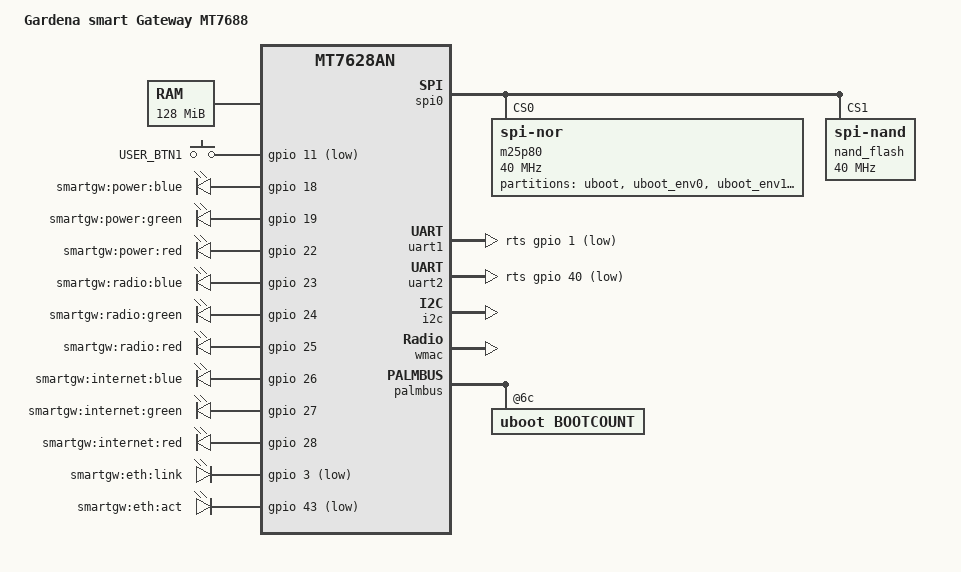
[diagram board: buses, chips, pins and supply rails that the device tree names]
/dts-v1/;

/include/ "mt7628an.dtsi"

#include <dt-bindings/gpio/gpio.h>
#include <dt-bindings/input/input.h>

/ {
	compatible = "Gardena,smartGatewayMT7688", "ralink,mt7628an-soc";
	model = "Gardena smart Gateway MT7688";

	memory@0 {
		device_type = "memory";
		reg = <0x0 0x8000000>;
	};

	gpio-keys {
		compatible = "gpio-keys";

		user_btn1 {
			label = "USER_BTN1";
			gpios = <&gpio 11 GPIO_ACTIVE_LOW>;
			linux,code =<KEY_PROG1> ;
		};
	};

	leds {
		compatible = "gpio-leds";

		power_blue {
			label = "smartgw:power:blue";
			gpios = <&gpio 18 GPIO_ACTIVE_HIGH>;
			default-state = "off";
		};

		power_green {
			label = "smartgw:power:green";
			gpios = <&gpio 19 GPIO_ACTIVE_HIGH>;
			default-state = "off";
		};

		power_red {
			label = "smartgw:power:red";
			gpios = <&gpio 22 GPIO_ACTIVE_HIGH>;
			default-state = "off";
		};

		radio_blue {
			label = "smartgw:radio:blue";
			gpios = <&gpio 23 GPIO_ACTIVE_HIGH>;
			default-state = "off";
		};

		radio_green {
			label = "smartgw:radio:green";
			gpios = <&gpio 24 GPIO_ACTIVE_HIGH>;
			default-state = "off";
		};

		radio_red {
			label = "smartgw:radio:red";
			gpios = <&gpio 25 GPIO_ACTIVE_HIGH>;
			default-state = "off";
		};

		internet_blue {
			label = "smartgw:internet:blue";
			gpios = <&gpio 26 GPIO_ACTIVE_HIGH>;
			default-state = "off";
		};

		internet_green {
			label = "smartgw:internet:green";
			gpios = <&gpio 27 GPIO_ACTIVE_HIGH>;
			default-state = "off";
		};

		internet_red {
			label = "smartgw:internet:red";
			gpios = <&gpio 28 GPIO_ACTIVE_HIGH>;
			default-state = "off";
		};

		ethernet_link {
			label = "smartgw:eth:link";
			gpios = <&gpio 3 GPIO_ACTIVE_LOW>;
			linux,default-trigger = "netdev";
		};

		ethernet_activity {
			label = "smartgw:eth:act";
			gpios = <&gpio 43 GPIO_ACTIVE_LOW>;
			linux,default-trigger = "netdev";
		};
	};

	aliases {
		serial0 = &uartlite;
		ethernet0 = &ethernet;
	};
};

&pinctrl {
	state_default: pinctrl0 {
		gpio {
			ralink,group = "gpio", "i2s",
				"p1led_an", "p2led_an", "p3led_an", "p4led_an",
				"spis", "wled_an", "wdt", "sdmode", "refclk",
				"perst", "pwm0", "pwm1";
			ralink,function = "gpio";
		};
	};
};

&spi0 {
	status = "okay";

	pinctrl-names = "default";
	pinctrl-0 = <&spi_pins>, <&spi_cs1_pins>;

	m25p80@0 {
		compatible = "jedec,spi-nor";
		reg = <0>;
		spi-max-frequency = <40000000>;
		m25p,chunked-io = <31>;

		partitions {
			compatible = "fixed-partitions";
			#address-cells = <1>;
			#size-cells = <1>;

			partition@0 {
				label = "uboot";
				reg = <0x0 0xa0000>;
				read-only;
			};

			partition@a0000 {
				label = "uboot_env0";
				reg = <0xa0000 0x10000>;
			};

			partition@b0000 {
				label = "uboot_env1";
				reg = <0xb0000 0x10000>;
			};

			factory: partition@c0000 {
				label = "factory";
				reg = <0xc0000 0x10000>;
				read-only;
			};
		};
	};

	nand_flash@1 {
		compatible = "spi-nand";
		linux,mtd-name = "gd5f";
		reg = <1>;
		spi-max-frequency = <40000000>;
	};
};

&uart1 {
	status = "okay";

	rts-gpios = <&gpio 1 GPIO_ACTIVE_LOW>;
	cts-gpios = <&gpio 2 GPIO_ACTIVE_LOW>;
};

&uart2 {
	status = "okay";

	rts-gpios = <&gpio 40 GPIO_ACTIVE_LOW>;
	cts-gpios = <&gpio 41 GPIO_ACTIVE_LOW>;
};

&i2c {
	status = "okay";
};

&wmac {
	status = "okay";
};

&palmbus {
	bootcount@0x6c {
		compatible = "uboot,bootcount";
		reg = <0x0000006c 0x4>;
	};
};
